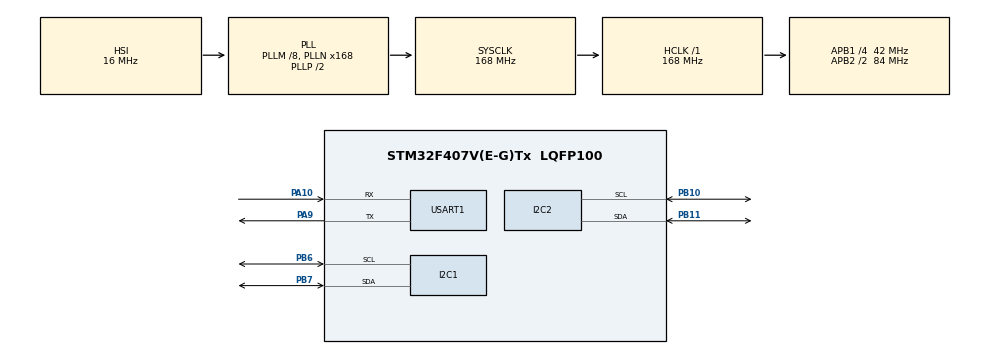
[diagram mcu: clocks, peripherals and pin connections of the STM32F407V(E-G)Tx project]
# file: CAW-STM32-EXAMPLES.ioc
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Dma.I2C2_TX.0.Direction=DMA_MEMORY_TO_PERIPH
Dma.I2C2_TX.0.FIFOMode=DMA_FIFOMODE_DISABLE
Dma.I2C2_TX.0.Instance=DMA1_Stream7
Dma.I2C2_TX.0.MemDataAlignment=DMA_MDATAALIGN_BYTE
Dma.I2C2_TX.0.MemInc=DMA_MINC_ENABLE
Dma.I2C2_TX.0.Mode=DMA_NORMAL
Dma.I2C2_TX.0.PeriphDataAlignment=DMA_PDATAALIGN_BYTE
Dma.I2C2_TX.0.PeriphInc=DMA_PINC_DISABLE
Dma.I2C2_TX.0.Priority=DMA_PRIORITY_LOW
Dma.Request0=I2C2_TX
I2C2.I2C_Mode=I2C_Fast
Mcu.Family=STM32F4
Mcu.Name=STM32F407V(E-G)Tx
Mcu.Package=LQFP100
NVIC.DMA1_Stream7_IRQn=true\:0\:0\:false\:false\:true\:false\:true\:true
NVIC.I2C2_EV_IRQn=true\:0\:0\:false\:false\:true\:true\:true\:true
NVIC.PriorityGroup=NVIC_PRIORITYGROUP_4
NVIC.USART1_IRQn=true\:0\:0\:false\:false\:true\:true\:true\:true
PA10.Mode=Asynchronous
PA10.Signal=USART1_RX
PA9.Mode=Asynchronous
PA9.Signal=USART1_TX
PB10.Mode=I2C
PB10.Signal=I2C2_SCL
PB11.Mode=I2C
PB11.Signal=I2C2_SDA
PB6.Mode=I2C
PB6.Signal=I2C1_SCL
PB7.Mode=I2C
PB7.Signal=I2C1_SDA
PH0-OSC_IN.Mode=HSE-External-Oscillator
PH0-OSC_IN.Signal=RCC_OSC_IN
PH1-OSC_OUT.Mode=HSE-External-Oscillator
PH1-OSC_OUT.Signal=RCC_OSC_OUT
ProjectManager.HeapSize=0x200
ProjectManager.StackSize=0x400
ProjectManager.TargetToolchain=Makefile
RCC.48MHZClocksFreq_Value=84000000
RCC.AHBFreq_Value=168000000
RCC.APB1CLKDivider=RCC_HCLK_DIV4
RCC.APB1Freq_Value=42000000
RCC.APB1TimFreq_Value=84000000
RCC.APB2CLKDivider=RCC_HCLK_DIV2
RCC.APB2Freq_Value=84000000
RCC.APB2TimFreq_Value=168000000
RCC.CortexFreq_Value=168000000
RCC.HCLKFreq_Value=168000000
RCC.HSE_VALUE=16000000
RCC.HSI_VALUE=16000000
RCC.LSE_VALUE=32768
RCC.PLLM=8
RCC.PLLN=168
RCC.SYSCLKFreq_VALUE=168000000
RCC.SYSCLKSource=RCC_SYSCLKSOURCE_PLLCLK
RCC.VCOOutputFreq_Value=336000000
USART1.VirtualMode=VM_ASYNC
board=custom

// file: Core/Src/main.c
/* USER CODE BEGIN Header */
/**
 ******************************************************************************
 * @file           : main.c
 * @brief          : Main program body
 ******************************************************************************
 * @attention
 *
 * Copyright (c) 2023 STMicroelectronics.
 * All rights reserved.
 *
 * This software is licensed under terms that can be found in the LICENSE file
 * in the root directory of this software component.
 * If no LICENSE file comes with this software, it is provided AS-IS.
 *
 ******************************************************************************
 */
/* USER CODE END Header */
#include "main.h"

#include "dma.h"
#include "gpio.h"
#include "i2c.h"
#include "usart.h"

/* USER CODE BEGIN Includes */
#include <log.h>
#include <mpu6050.h>
#include <ssd1306.h>
/* USER CODE END Includes */

void SystemClock_Config(void);

int main(void) {

  /* MCU Configuration--------------------------------------------------------*/

  /* Reset of all peripherals, Initializes the Flash interface and the Systick.
   */
  HAL_Init();

  /* Configure the system clock */
  SystemClock_Config();

  /* Initialize all configured peripherals */
  MX_GPIO_Init();
  MX_DMA_Init();
  MX_USART1_UART_Init();
  MX_I2C1_Init();
  MX_I2C2_Init();
  /* USER CODE BEGIN 2 */
  HAL_Delay(20);
  CAW_LOG_Init(&huart1, LEVEL_DEBUG, true);
  SSD1306_Init(&hi2c2, true);
  MPU6050_Init(&hi2c1, false);

  CAW_LOG_INFO("Init ok...");

  /* USER CODE END 2 */

  /* Infinite loop */
  /* USER CODE BEGIN WHILE */
  while (1) {
    float pitch, roll, yaw;
    if (MPU6050_GetData(&pitch, &roll, &yaw) == 0) {
      CAW_LOG_INFO("pitch: %f, roll: %f, yaw: %f", pitch, roll, yaw);
      SSD1306_Fill(0x00);
      SSD1306_Printf(5, 10, FONT_6x8, "pitch: %.2f", pitch);
      SSD1306_Printf(5, 30, FONT_6x8, "roll: %.2f", roll);
      SSD1306_Printf(5, 50, FONT_6x8, "yaw: %.2f", yaw);
      SSD1306_Update();
    }
    /* USER CODE END WHILE */

  }
}

void SystemClock_Config(void) {
  RCC_OscInitTypeDef RCC_OscInitStruct = {0};
  RCC_ClkInitTypeDef RCC_ClkInitStruct = {0};

  /** Configure the main internal regulator output voltage
   */
  __HAL_RCC_PWR_CLK_ENABLE();
  __HAL_PWR_VOLTAGESCALING_CONFIG(PWR_REGULATOR_VOLTAGE_SCALE1);

  /** Initializes the RCC Oscillators according to the specified parameters
   * in the RCC_OscInitTypeDef structure.
   */
  RCC_OscInitStruct.OscillatorType = RCC_OSCILLATORTYPE_HSI;
  RCC_OscInitStruct.HSIState = RCC_HSI_ON;
  RCC_OscInitStruct.HSICalibrationValue = RCC_HSICALIBRATION_DEFAULT;
  RCC_OscInitStruct.PLL.PLLState = RCC_PLL_ON;
  RCC_OscInitStruct.PLL.PLLSource = RCC_PLLSOURCE_HSI;
  RCC_OscInitStruct.PLL.PLLM = 8;
  RCC_OscInitStruct.PLL.PLLN = 168;
  RCC_OscInitStruct.PLL.PLLP = RCC_PLLP_DIV2;
  RCC_OscInitStruct.PLL.PLLQ = 4;
  if (HAL_RCC_OscConfig(&RCC_OscInitStruct) != HAL_OK) {
    Error_Handler();
  }

  /** Initializes the CPU, AHB and APB buses clocks
   */
  RCC_ClkInitStruct.ClockType = RCC_CLOCKTYPE_HCLK | RCC_CLOCKTYPE_SYSCLK |
                                RCC_CLOCKTYPE_PCLK1 | RCC_CLOCKTYPE_PCLK2;
  RCC_ClkInitStruct.SYSCLKSource = RCC_SYSCLKSOURCE_PLLCLK;
  RCC_ClkInitStruct.AHBCLKDivider = RCC_SYSCLK_DIV1;
  RCC_ClkInitStruct.APB1CLKDivider = RCC_HCLK_DIV4;
  RCC_ClkInitStruct.APB2CLKDivider = RCC_HCLK_DIV2;

  if (HAL_RCC_ClockConfig(&RCC_ClkInitStruct, FLASH_LATENCY_5) != HAL_OK) {
    Error_Handler();
  }
}

void Error_Handler(void) {
  __disable_irq();
  while (1) {
  }
}

#ifdef USE_FULL_ASSERT
/**
 * @brief  Reports the name of the source file and the source line number
 *         where the assert_param error has occurred.
 * @param  file: pointer to the source file name
 * @param  line: assert_param error line source number
 * @retval None
 */
void assert_failed(uint8_t *file, uint32_t line) {
  /* USER CODE BEGIN 6 */
  /* User can add his own implementation to report the file name and line
     number, ex: printf("Wrong parameters value: file %s on line %d\r\n", file,
     line) */
  /* USER CODE END 6 */
}
#endif /* USE_FULL_ASSERT */
